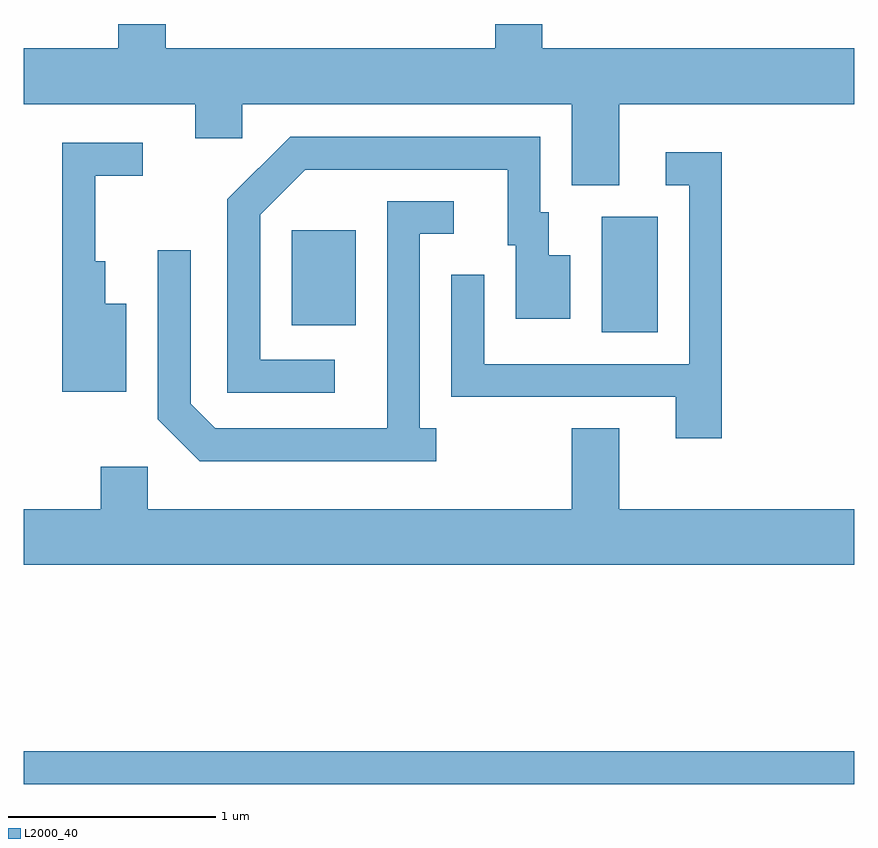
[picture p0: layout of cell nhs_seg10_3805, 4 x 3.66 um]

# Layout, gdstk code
import gdstk
lib = gdstk.Library(unit=1e-6, precision=1e-09)
def R(c, l, rs):  # rectangles x0, y0, x1, y1
    for r in rs: c.add(gdstk.rectangle(r[:2], r[2:], *l))
def P(c, l, *ps):  # polygons
    for p in ps: c.add(gdstk.Polygon(p, *l))
L2000_40 = (2000, 40)

nhs_seg10_3805 = lib.new_cell('nhs_seg10_3805')
R(nhs_seg10_3805, L2000_40, [(297.611,2112.861,301.611,2113.019), (300.396,2115.036,300.664,2115.594), (298.901,2115.071,299.209,2115.529)])
P(nhs_seg10_3805, L2000_40, [(300.479,2116.136),(301.611,2116.136),(301.611,2116.404),(300.109,2116.404),(300.109,2116.522),(299.881,2116.522),(299.881,2116.404),(298.294,2116.404),(298.294,2116.522),(298.066,2116.522),(298.066,2116.404),(297.611,2116.404),(297.611,2116.136),(298.436,2116.136),(298.436,2115.971),(298.664,2115.971),(298.664,2116.136),(300.251,2116.136),(300.251,2115.746),(300.479,2115.746)],
  [(299.108,2114.904),(298.749,2114.904),(298.749,2115.604),(298.967,2115.821),(299.941,2115.821),(299.941,2115.456),(299.981,2115.456),(299.981,2115.101),(300.244,2115.101),(300.244,2115.409),(300.139,2115.409),(300.139,2115.614),(300.099,2115.614),(300.099,2115.979),(298.894,2115.979),(298.591,2115.677),(298.591,2114.746),(299.108,2114.746)],
  [(298.104,2115.174),(298.004,2115.174),(298.004,2115.379),(297.954,2115.379),(297.954,2115.791),(298.183,2115.791),(298.183,2115.949),(297.796,2115.949),(297.796,2114.751),(298.104,2114.751)],
  [(300.974,2115.904),(300.703,2115.904),(300.703,2115.746),(300.816,2115.746),(300.816,2114.884),(299.829,2114.884),(299.829,2115.313),(299.671,2115.313),(299.671,2114.726),(300.751,2114.726),(300.751,2114.526),(300.974,2114.526)],
  [(299.598,2114.574),(299.519,2114.574),(299.519,2115.511),(299.683,2115.511),(299.683,2115.669),(299.361,2115.669),(299.361,2114.574),(298.532,2114.574),(298.414,2114.692),(298.414,2115.433),(298.256,2115.433),(298.256,2114.619),(298.459,2114.416),(299.598,2114.416)],
  [(301.611,2114.184),(300.479,2114.184),(300.479,2114.574),(300.251,2114.574),(300.251,2114.184),(298.209,2114.184),(298.209,2114.389),(297.981,2114.389),(297.981,2114.184),(297.611,2114.184),(297.611,2113.916),(301.611,2113.916)])

lib.write_gds('nhs_seg10_3805.gds')
